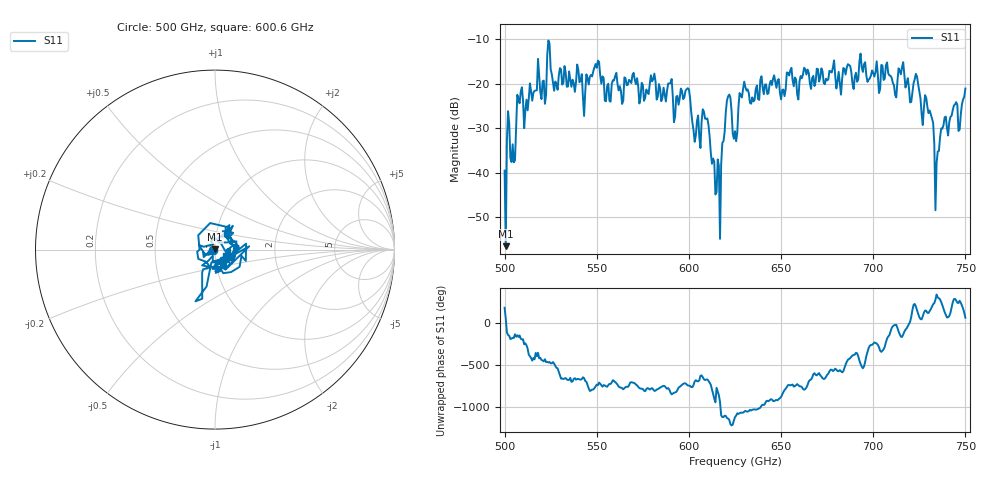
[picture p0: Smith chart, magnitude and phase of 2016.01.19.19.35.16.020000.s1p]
!Created with skrf (http://scikit-rf.org).
# GHz S RI R 50.0
!freq ReS11 ImS11
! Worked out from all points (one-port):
!   401 points, 500 GHz to 750 GHz, reference 50 ohm
!   lowest |S11| = -56.5 dB at 500.6 GHz (marker M1), VSWR 1.00, Z = 50.1 + j0.116 ohm
!   |S11| at or under -10 dB: start of sweep to end of sweep
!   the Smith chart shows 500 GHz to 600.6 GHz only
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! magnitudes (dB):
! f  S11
! 500 GHz  -39.5
! 500.6 GHz  -56.5
! 502.5 GHz  -28.9
! 504.4 GHz  -33.6
! 508.1 GHz  -24.4
! 521.2 GHz  -19.3
! 524.4 GHz  -11.0
! 527.5 GHz  -19.5
! 531.2 GHz  -20.2
! 543.8 GHz  -21.8
! 550 GHz  -16.4
! 562.5 GHz  -20.5
! 580.6 GHz  -19.0
! 593.8 GHz  -22.7
! 599.4 GHz  -21.0
! 603.1 GHz  -33.0
! 608.8 GHz  -27.8
! 615.6 GHz  -37.0
! 621.2 GHz  -22.8
! 625 GHz  -30.6
! 630.6 GHz  -20.7
! 656.2 GHz  -19.2
! 687.5 GHz  -16.0
! 718.8 GHz  -18.7
! 729.4 GHz  -25.2
! 734.4 GHz  -37.8
! 738.1 GHz  -29.3
! 750 GHz  -21.0
